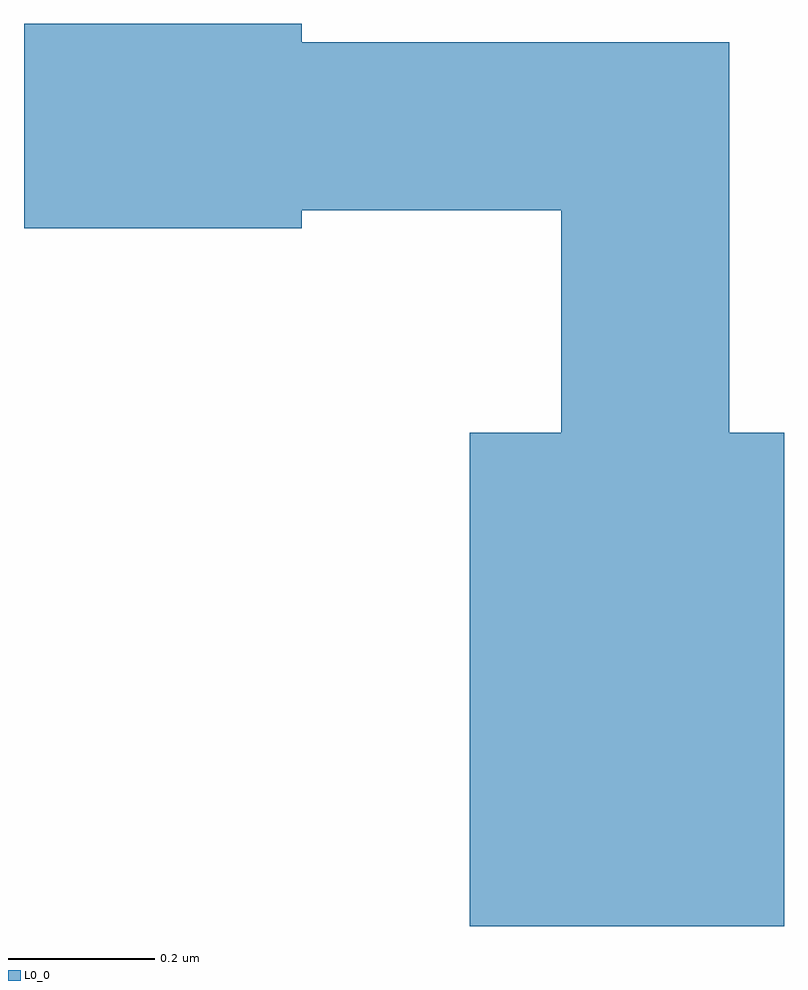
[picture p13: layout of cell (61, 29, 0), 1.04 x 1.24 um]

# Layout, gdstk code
import gdstk
lib = gdstk.Library(unit=1e-6, precision=1e-09)
def P(c, l, *ps):  # polygons
    for p in ps: c.add(gdstk.Polygon(p, *l))
L0_0 = (0, 0)

c__61__29__0_ = lib.new_cell('(61, 29, 0)')
P(c__61__29__0_, L0_0, [(961.05,943.46),(961.48,943.46),(961.48,942.785),(961.05,942.785),(961.05,943.46)],
  [(960.515,943.995),(961.405,943.995),(961.405,943.765),(960.515,943.765),(960.515,943.995)],
  [(961.175,943.32),(961.175,943.995),(961.405,943.995),(961.405,943.32),(961.175,943.32)],
  [(960.44,944.02),(960.82,944.02),(960.82,943.74),(960.44,943.74),(960.44,944.02)],
  [(961.05,943.46),(961.48,943.46),(961.48,942.785),(961.05,942.785),(961.05,943.46)],
  [(961.175,943.32),(961.175,943.995),(961.405,943.995),(961.405,943.32),(961.175,943.32)])

lib.write_gds('_61__29__0_.gds')
